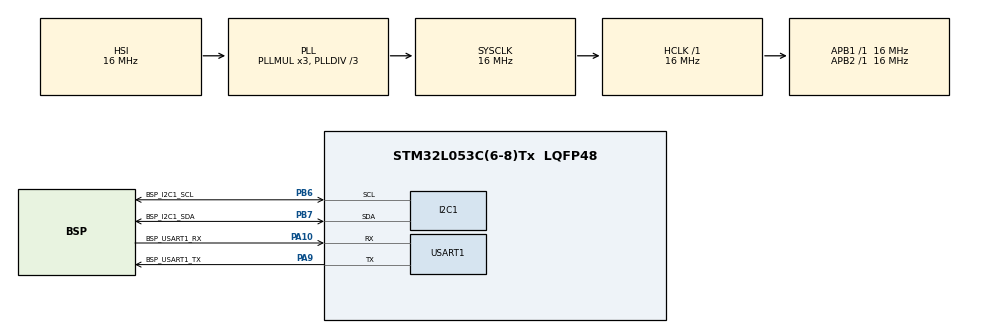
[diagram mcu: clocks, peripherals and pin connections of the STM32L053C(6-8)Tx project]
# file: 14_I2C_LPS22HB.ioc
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I2C1.Timing=0x00303D5B
Mcu.Family=STM32L0
Mcu.Name=STM32L053C(6-8)Tx
Mcu.Package=LQFP48
PA10.GPIO_Label=BSP_USART1_RX
PA10.Mode=Asynchronous
PA10.Signal=USART1_RX
PA9.GPIO_Label=BSP_USART1_TX
PA9.Mode=Asynchronous
PA9.Signal=USART1_TX
PB6.GPIO_Label=BSP_I2C1_SCL
PB6.Mode=I2C
PB6.Signal=I2C1_SCL
PB7.GPIO_Label=BSP_I2C1_SDA
PB7.Mode=I2C
PB7.Signal=I2C1_SDA
ProjectManager.HeapSize=0x200
ProjectManager.StackSize=0x400
ProjectManager.TargetToolchain=STM32CubeIDE
RCC.AHBFreq_Value=16000000
RCC.APB1Freq_Value=16000000
RCC.APB1TimFreq_Value=16000000
RCC.APB2Freq_Value=16000000
RCC.APB2TimFreq_Value=16000000
RCC.HCLKFreq_Value=16000000
RCC.HSE_VALUE=8000000
RCC.HSI16_VALUE=16000000
RCC.HSI48MClockSelection=RCC_USBCLKSOURCE_HSI48
RCC.HSI48_VALUE=48000000
RCC.HSI_VALUE=16000000
RCC.LSE_VALUE=32768
RCC.MSI_VALUE=2097000
RCC.PLLDIV=RCC_PLLDIV_3
RCC.RTCClockSelectionVirtual=RCC_RTCCLKSOURCE_LSE
RCC.SYSCLKFreq_VALUE=16000000
RCC.SYSCLKSource=RCC_SYSCLKSOURCE_PLLCLK
RCC.VCOOutputFreq_Value=48000000
USART1.VirtualMode-Asynchronous=VM_ASYNC
board=STM32L0538-DISCO

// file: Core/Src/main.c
/* USER CODE BEGIN Header */
/**
  ******************************************************************************
  * @file           : main.c
  * @brief          : Main program body
  ******************************************************************************
  * @attention
  *
  * Copyright (c) 2024 STMicroelectronics.
  * All rights reserved.
  *
  * This software is licensed under terms that can be found in the LICENSE file
  * in the root directory of this software component.
  * If no LICENSE file comes with this software, it is provided AS-IS.
  *
  ******************************************************************************
  */
/* USER CODE END Header */
#include "main.h"

/* USER CODE BEGIN Includes */
#include<stdio.h>
#include<string.h>
#include "lps22hb.h"
/* USER CODE END Includes */

/* USER CODE BEGIN PD */
#define LPS22HB_ADDRESS     0x5C
#define LPS22HB_PRESS_OUT_XL_REG  (uint8_t)0x28
/* USER CODE END PD */

I2C_HandleTypeDef hi2c1;

UART_HandleTypeDef huart1;

/* USER CODE BEGIN PV */
char Buffer[25] = {0};
uint8_t Space[] = ". ";
uint8_t StartMSG[] = "Starting I2C Scanning: \r\n";
uint8_t EndMSG[] = "Done! \r\n\r\n";

uint8_t i = 0;
int ret;

void i2c_scan(void);
/* USER CODE END PV */

void SystemClock_Config(void);
static void MX_GPIO_Init(void);
static void MX_I2C1_Init(void);
static void MX_USART1_UART_Init(void);

/* USER CODE BEGIN 0 */
uint32_t readPressure(void) {
    uint8_t data[3];
    uint32_t pressure;

    HAL_I2C_Mem_Read(&hi2c1, LPS22HB_ADDRESS, LPS22HB_PRESS_OUT_XL_REG, I2C_MEMADD_SIZE_8BIT, data, sizeof(data), HAL_MAX_DELAY);

    pressure = ((uint32_t)data[2] << 16) | ((uint32_t)data[1] << 8) | data[0];

    return pressure;
}
/* USER CODE END 0 */

int main(void)
{

  /* MCU Configuration--------------------------------------------------------*/

  /* Reset of all peripherals, Initializes the Flash interface and the Systick. */
  HAL_Init();

  /* Configure the system clock */
  SystemClock_Config();

  /* Initialize all configured peripherals */
  MX_GPIO_Init();
  MX_I2C1_Init();
  MX_USART1_UART_Init();
  /* USER CODE BEGIN 2 */

  i2c_scan();
  LPS22HB_P_Init(LPS22HB_ADDRESS);

  /* USER CODE END 2 */

  /* Infinite loop */
  while (1)
  {
	  uint32_t pressure = readPressure();
	  HAL_UART_Transmit(&huart1,(uint8_t * ) pressure, sizeof(pressure), 1000);
	  HAL_Delay(2000);
  }
}

void SystemClock_Config(void)
{
  RCC_OscInitTypeDef RCC_OscInitStruct = {0};
  RCC_ClkInitTypeDef RCC_ClkInitStruct = {0};
  RCC_PeriphCLKInitTypeDef PeriphClkInit = {0};

  /** Configure the main internal regulator output voltage
  */
  __HAL_PWR_VOLTAGESCALING_CONFIG(PWR_REGULATOR_VOLTAGE_SCALE1);

  /** Initializes the RCC Oscillators according to the specified parameters
  * in the RCC_OscInitTypeDef structure.
  */
  RCC_OscInitStruct.OscillatorType = RCC_OSCILLATORTYPE_HSI;
  RCC_OscInitStruct.HSIState = RCC_HSI_ON;
  RCC_OscInitStruct.HSICalibrationValue = RCC_HSICALIBRATION_DEFAULT;
  RCC_OscInitStruct.PLL.PLLState = RCC_PLL_ON;
  RCC_OscInitStruct.PLL.PLLSource = RCC_PLLSOURCE_HSI;
  RCC_OscInitStruct.PLL.PLLMUL = RCC_PLLMUL_3;
  RCC_OscInitStruct.PLL.PLLDIV = RCC_PLLDIV_3;
  if (HAL_RCC_OscConfig(&RCC_OscInitStruct) != HAL_OK)
  {
    Error_Handler();
  }

  /** Initializes the CPU, AHB and APB buses clocks
  */
  RCC_ClkInitStruct.ClockType = RCC_CLOCKTYPE_HCLK|RCC_CLOCKTYPE_SYSCLK
                              |RCC_CLOCKTYPE_PCLK1|RCC_CLOCKTYPE_PCLK2;
  RCC_ClkInitStruct.SYSCLKSource = RCC_SYSCLKSOURCE_PLLCLK;
  RCC_ClkInitStruct.AHBCLKDivider = RCC_SYSCLK_DIV1;
  RCC_ClkInitStruct.APB1CLKDivider = RCC_HCLK_DIV1;
  RCC_ClkInitStruct.APB2CLKDivider = RCC_HCLK_DIV1;

  if (HAL_RCC_ClockConfig(&RCC_ClkInitStruct, FLASH_LATENCY_0) != HAL_OK)
  {
    Error_Handler();
  }
  PeriphClkInit.PeriphClockSelection = RCC_PERIPHCLK_USART1|RCC_PERIPHCLK_I2C1;
  PeriphClkInit.Usart1ClockSelection = RCC_USART1CLKSOURCE_PCLK2;
  PeriphClkInit.I2c1ClockSelection = RCC_I2C1CLKSOURCE_PCLK1;
  if (HAL_RCCEx_PeriphCLKConfig(&PeriphClkInit) != HAL_OK)
  {
    Error_Handler();
  }
}

static void MX_I2C1_Init(void)
{

  hi2c1.Instance = I2C1;
  hi2c1.Init.Timing = 0x00303D5B;
  hi2c1.Init.OwnAddress1 = 0;
  hi2c1.Init.AddressingMode = I2C_ADDRESSINGMODE_7BIT;
  hi2c1.Init.DualAddressMode = I2C_DUALADDRESS_DISABLE;
  hi2c1.Init.OwnAddress2 = 0;
  hi2c1.Init.OwnAddress2Masks = I2C_OA2_NOMASK;
  hi2c1.Init.GeneralCallMode = I2C_GENERALCALL_DISABLE;
  hi2c1.Init.NoStretchMode = I2C_NOSTRETCH_DISABLE;
  if (HAL_I2C_Init(&hi2c1) != HAL_OK)
  {
    Error_Handler();
  }

  /** Configure Analogue filter
  */
  if (HAL_I2CEx_ConfigAnalogFilter(&hi2c1, I2C_ANALOGFILTER_ENABLE) != HAL_OK)
  {
    Error_Handler();
  }

  /** Configure Digital filter
  */
  if (HAL_I2CEx_ConfigDigitalFilter(&hi2c1, 0) != HAL_OK)
  {
    Error_Handler();
  }

}

static void MX_USART1_UART_Init(void)
{

  huart1.Instance = USART1;
  huart1.Init.BaudRate = 115200;
  huart1.Init.WordLength = UART_WORDLENGTH_8B;
  huart1.Init.StopBits = UART_STOPBITS_1;
  huart1.Init.Parity = UART_PARITY_NONE;
  huart1.Init.Mode = UART_MODE_TX_RX;
  huart1.Init.HwFlowCtl = UART_HWCONTROL_NONE;
  huart1.Init.OverSampling = UART_OVERSAMPLING_16;
  huart1.Init.OneBitSampling = UART_ONE_BIT_SAMPLE_DISABLE;
  huart1.AdvancedInit.AdvFeatureInit = UART_ADVFEATURE_NO_INIT;
  if (HAL_UART_Init(&huart1) != HAL_OK)
  {
    Error_Handler();
  }

}

static void MX_GPIO_Init(void)
{

  /* GPIO Ports Clock Enable */
  __HAL_RCC_GPIOA_CLK_ENABLE();
  __HAL_RCC_GPIOB_CLK_ENABLE();

}

/* USER CODE BEGIN 4 */
void i2c_scan(void)
{
	HAL_UART_Transmit(&huart1, StartMSG, sizeof(StartMSG), 10000);

		for(i=0; i<128; i++)
		    {
		        ret = HAL_I2C_IsDeviceReady(&hi2c1, (uint16_t)(i<<1), 3, 5);
		        if (ret != HAL_OK) /* No ACK Received At That Address */
		        {
		            HAL_UART_Transmit(&huart1, Space, sizeof(Space), 10000);
		        }
		        else if(ret == HAL_OK)
		        {
		            sprintf(Buffer, "0x%X", i);
		            HAL_UART_Transmit(&huart1, (uint8_t *)Buffer, sizeof(Buffer), 10000);
		        }
		    }
		    HAL_UART_Transmit(&huart1, EndMSG, sizeof(EndMSG), 10000);
}
/* USER CODE END 4 */

void Error_Handler(void)
{
  __disable_irq();
  while (1)
  {
  }
}
